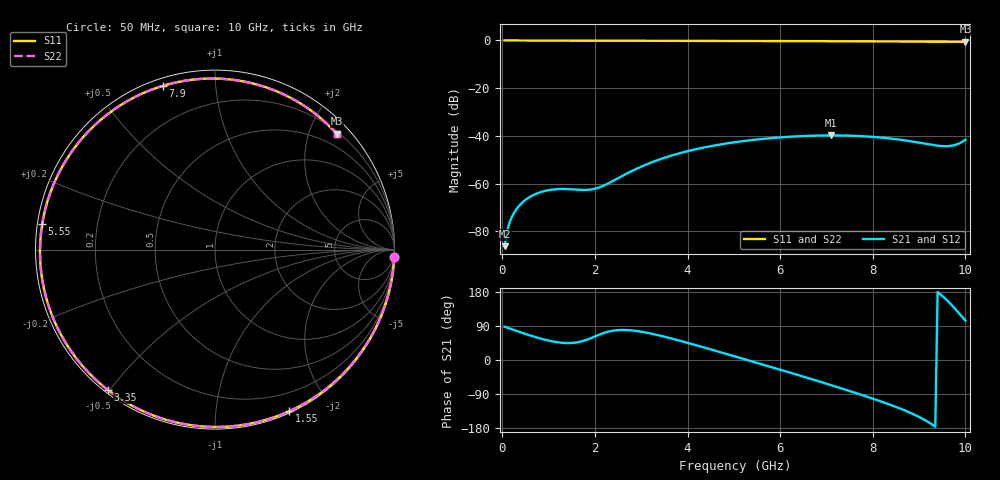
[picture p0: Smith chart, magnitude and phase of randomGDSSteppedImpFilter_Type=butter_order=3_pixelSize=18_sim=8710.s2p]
! freq	dB(S11)	phase(S11)	dB(S12)	phase(S12)
!  dB(S21)	phase(S21)	dB(S22)	phase(S22)
!S-par simulation data
#  GHz  S  DB  R 50
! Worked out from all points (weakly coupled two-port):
!   200 points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, 50 MHz to 10 GHz, reference 50 ohm
!   highest |S21| = -39.76 dB at 7.1 GHz (marker M1); lowest = -86.1 dB at 50 MHz (marker M2)
!   lowest |S11| = -0.6 dB at 10 GHz (marker M3), VSWR 30.16, Z = 12 + j124 ohm
!   |S11| at or under -10 dB: nowhere
!   |S22| runs from -0.6 to 0.0 dB; largest |S21 - S12| = 0
!   S11 on the Smith chart (normalised r, x): 50 MHz: 0, -51; 1.55 GHz: 0.02, -1.56; 3.35 GHz: 0.01, -0.50; 5.55 GHz: 0.01, +0.07; 7.9 GHz: 0.03, +0.73; 10 GHz: 0.24, +2.48
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0.05  -0.00 -2.2  -86.15 87.9  -86.15 87.9  -0.00 -2.2
0.1  -0.00 -4.4  -80.15 85.7  -80.15 85.7  -0.00 -4.4
0.2  -0.01 -8.8  -74.21 81.3  -74.21 81.3  -0.01 -8.8
0.3  -0.02 -13.2  -70.81 77.0  -70.81 77.0  -0.02 -13.2
0.6  -0.03 -26.2  -65.47 64.8  -65.47 64.8  -0.03 -26.2
1  -0.05 -43.1  -62.68 51.2  -62.68 51.2  -0.05 -43.1
1.55  -0.08 -65.3  -62.40 45.4  -62.40 45.4  -0.08 -65.3
1.75  -0.09 -73.0  -62.59 50.4  -62.59 50.4  -0.09 -73.0
2.1  -0.10 -85.9  -61.49 67.2  -61.49 67.2  -0.10 -85.9
2.5  -0.11 -99.9  -57.69 78.9  -57.69 78.9  -0.11 -99.9
3.35  -0.14 -127.2  -50.14 66.0  -50.14 66.0  -0.14 -127.2
3.4  -0.14 -128.7  -49.80 64.6  -49.80 64.6  -0.14 -128.7
4.2  -0.17 -152.0  -45.46 38.5  -45.46 38.5  -0.17 -152.0
5.05  -0.21 -175.2  -42.53 8.5  -42.53 8.5  -0.21 -175.2
5.55  -0.24 171.5  -41.37 -9.3  -41.37 -9.3  -0.24 171.5
6.7  -0.30 140.9  -39.88 -51.2  -39.88 -51.2  -0.30 140.9
7.1  -0.33 130.0  -39.76 -66.3  -39.76 -66.3  -0.33 130.1
7.9  -0.38 107.6  -40.24 -97.8  -40.24 -97.8  -0.38 107.6
8.35  -0.41 94.5  -41.00 -116.9  -41.00 -116.9  -0.41 94.5
8.95  -0.45 76.4  -42.63 -147.2  -42.63 -147.2  -0.45 76.4
9.55  -0.52 57.8  -44.28 163.8  -44.28 163.8  -0.52 57.8
10  -0.58 43.6  -41.59 104.2  -41.59 104.2  -0.58 43.6
